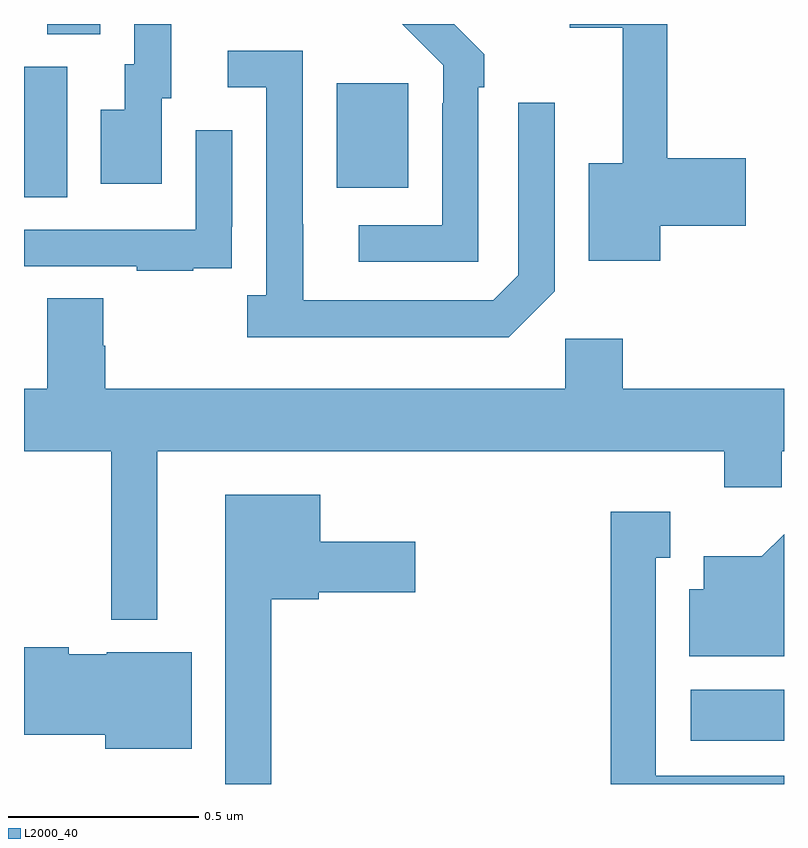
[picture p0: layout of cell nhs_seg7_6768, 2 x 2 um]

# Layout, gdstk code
import gdstk
lib = gdstk.Library(unit=1e-6, precision=1e-09)
def R(c, l, rs):  # rectangles x0, y0, x1, y1
    for r in rs: c.add(gdstk.rectangle(r[:2], r[2:], *l))
def P(c, l, *ps):  # polygons
    for p in ps: c.add(gdstk.Polygon(p, *l))
L2000_40 = (2000, 40)

nhs_seg7_6768 = lib.new_cell('nhs_seg7_6768')
R(nhs_seg7_6768, L2000_40, [(203.754,1073.114,204,1073.248), (202,1074.544,202.114,1074.888), (202.823,1074.569,203.011,1074.844), (202.061,1074.973,202.201,1075)])
P(nhs_seg7_6768, L2000_40, [(203.196,1074.833),(203.211,1074.833),(203.211,1074.921),(203.132,1075),(202.995,1075),(203.103,1074.891),(203.103,1074.791),(203.1,1074.791),(203.1,1074.471),(202.881,1074.471),(202.881,1074.375),(203.196,1074.375)],
  [(202.363,1074.804),(202.387,1074.804),(202.387,1075),(202.29,1075),(202.29,1074.894),(202.265,1074.894),(202.265,1074.775),(202.202,1074.775),(202.202,1074.579),(202.363,1074.579)],
  [(203.674,1074.469),(203.899,1074.469),(203.899,1074.647),(203.693,1074.647),(203.693,1075),(203.436,1075),(203.436,1074.99),(203.576,1074.99),(203.576,1074.634),(203.486,1074.634),(203.486,1074.377),(203.674,1074.377)],
  [(203.397,1074.297),(203.397,1074.793),(203.301,1074.793),(203.301,1074.339),(203.235,1074.273),(202.735,1074.273),(202.735,1074.473),(202.734,1074.473),(202.734,1074.93),(202.536,1074.93),(202.536,1074.834),(202.638,1074.834),(202.638,1074.286),(202.587,1074.286),(202.587,1074.176),(203.276,1074.176)],
  [(202.445,1074.357),(202.547,1074.357),(202.547,1074.466),(202.548,1074.466),(202.548,1074.721),(202.452,1074.721),(202.452,1074.459),(202,1074.459),(202,1074.363),(202.297,1074.363),(202.297,1074.351),(202.445,1074.351)],
  [(202.351,1073.876),(203.843,1073.876),(203.843,1073.781),(203.994,1073.781),(203.994,1073.876),(204,1073.876),(204,1074.04),(203.576,1074.04),(203.576,1074.172),(203.424,1074.172),(203.424,1074.04),(202.214,1074.04),(202.214,1074.153),(202.209,1074.153),(202.209,1074.278),(202.061,1074.278),(202.061,1074.04),(202,1074.04),(202,1073.876),(202.23,1073.876),(202.23,1073.432),(202.351,1073.432)],
  [(202.651,1073.486),(202.776,1073.486),(202.776,1073.504),(203.029,1073.504),(203.029,1073.638),(202.78,1073.638),(202.78,1073.761),(202.529,1073.761),(202.529,1073),(202.651,1073)],
  [(204,1073.022),(203.662,1073.022),(203.662,1073.595),(203.701,1073.595),(203.701,1073.716),(203.544,1073.716),(203.544,1073),(204,1073)],
  [(204,1073.657),(203.941,1073.599),(203.789,1073.599),(203.789,1073.512),(203.75,1073.512),(203.75,1073.336),(204,1073.336)],
  [(202.441,1073.347),(202.218,1073.347),(202.218,1073.341),(202.118,1073.341),(202.118,1073.36),(202,1073.36),(202,1073.129),(202.214,1073.129),(202.214,1073.093),(202.441,1073.093)])

lib.write_gds('nhs_seg7_6768.gds')
